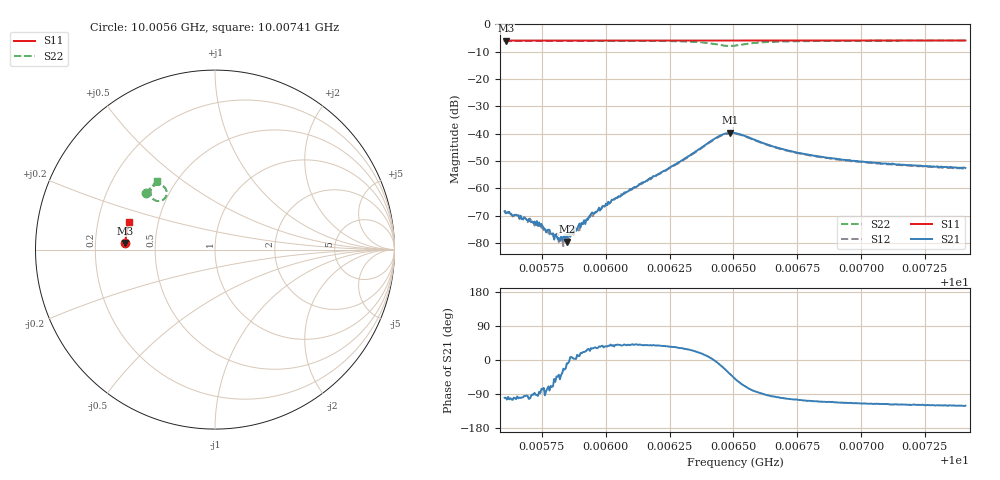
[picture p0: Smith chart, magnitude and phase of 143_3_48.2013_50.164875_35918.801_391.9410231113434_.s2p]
#  HZ  S  RI  R  50.00
! Rohde & Schwarz Vector Network Analyzer
! Rohde-Schwarz,ZNB20-2Port,1311601062101988,3.16
! Created: UTC 3/20/2024, 11:42:30 AM
! freq[Hz]  re:S11  im:S11  re:S21  im:S21  re:S12  im:S12  re:S22  im:S22
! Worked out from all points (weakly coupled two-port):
!   401 points, 10.0056 GHz to 10.00741 GHz, reference 50 ohm
!   highest |S21| = -39.64 dB at 10.00649 GHz (marker M1); lowest = -79.4 dB at 10.00585 GHz (marker M2)
!   lowest |S11| = -6.0 dB at 10.00561 GHz (marker M3), VSWR 3.01, Z = 16.7 + j1.65 ohm
!   |S11| at or under -10 dB: nowhere
!   |S22| runs from -8.0 to -6.0 dB; largest |S21 - S12| = 0.00064
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1.0005604e10  -0.4995 0.0367  -6.46e-05 -0.000376  -5.6e-05 -0.000399  -0.3854 0.3136
1.0005609e10  -0.4993 0.0371  -5.83e-05 -0.000352  -7.78e-05 -0.000343  -0.3854 0.314
1.000574e10  -0.4989 0.0457  2.68e-05 -0.000238  3.67e-05 -0.000202  -0.3791 0.322
1.0005789e10  -0.4988 0.0489  4.76e-05 -0.000137  8.12e-05 -0.000114  -0.3764 0.3249
1.0005803e10  -0.4987 0.0499  7.6e-05 -0.00012  0.000101 -0.000123  -0.3758 0.3259
1.0005821e10  -0.4986 0.051  6.92e-05 -8.49e-05  8.66e-05 -8.21e-05  -0.3747 0.327
1.0005825e10  -0.4987 0.0512  0.000102 -8.46e-05  0.000109 -6.53e-05  -0.3748 0.3273
1.0005848e10  -0.4985 0.0527  0.000106 -1.67e-05  0.00013 -5.17e-05  -0.3733 0.3288
1.0005857e10  -0.4984 0.0533  0.000148 -1.14e-05  0.000113 -2.08e-05  -0.3728 0.3294
1.0005875e10  -0.4984 0.0545  0.000184 1.07e-05  0.000139 2.4e-05  -0.3718 0.3306
1.0005906e10  -0.4983 0.0566  0.000224 7.27e-05  0.000206 9.88e-05  -0.3699 0.3326
1.0005952e10  -0.498 0.0594  0.000297 0.000179  0.00027 0.000191  -0.367 0.3356
1.0005992e10  -0.4978 0.0621  0.0004 0.000261  0.000389 0.000309  -0.3643 0.3385
1.0006209e10  -0.4962 0.0761  0.00147 0.00116  0.00139 0.00118  -0.3431 0.3546
1.0006362e10  -0.4945 0.086  0.00478 0.00175  0.00456 0.00196  -0.3041 0.3603
1.0006439e10  -0.4933 0.0907  0.0087 -0.00121  0.00853 -0.000752  -0.2701 0.3273
1.0006488e10  -0.4928 0.0933  0.00817 -0.00646  0.00828 -0.00589  -0.2847 0.2807
1.0006506e10  -0.4927 0.0944  0.00666 -0.00782  0.00695 -0.0073  -0.3013 0.2718
1.0006678e10  -0.4917 0.1054  -0.000818 -0.00542  -0.000573 -0.00532  -0.3599 0.3198
1.0006809e10  -0.4903 0.1139  -0.00127 -0.00382  -0.00107 -0.0038  -0.3543 0.342
1.0007111e10  -0.4859 0.133  -0.00128 -0.00251  -0.00111 -0.00252  -0.3373 0.3676
1.0007409e10  -0.4811 0.1516  -0.0012 -0.00204  -0.00108 -0.00205  -0.3214 0.3848
